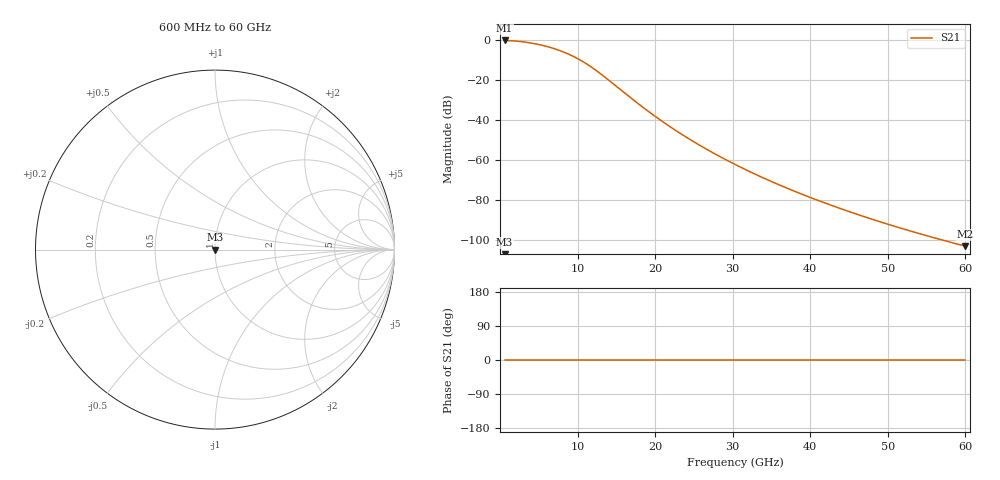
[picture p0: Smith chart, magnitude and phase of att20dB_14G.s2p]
# Hz S RI R 50
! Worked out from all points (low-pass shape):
!   201 points, 600 MHz to 60 GHz, reference 50 ohm
!   highest |S21| = -0.03 dB at 600 MHz (marker M1); lowest = -103.3 dB at 60 GHz (marker M2)
!   |S21| within 3 dB of the highest: start of sweep to 6.019 GHz
!   lowest |S11| = - dB at 600 MHz (marker M3), VSWR 1.00, Z = 50 + j0 ohm
!   |S11| at or under -10 dB: start of sweep to end of sweep
!   S12 and S22 are empty: the file has one direction only
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6e8  0 0  0.9967 0  0 0  0 0
1.81197e9  0 0  0.9698 0  0 0  0 0
3.07717e9  0 0  0.915 0  0 0  0 0
4.44786e9  0 0  0.8292 0  0 0  0 0
6e9  0 0  0.7072 0  0 0  0 0
7.21359e9  0 0  0.6006 0  0 0  0 0
8.47523e9  0 0  0.4857 0  0 0  0 0
9.50936e9  0 0  0.3928 0  0 0  0 0
1.06697e10  0 0  0.2953 0  0 0  0 0
1.28278e10  0 0  0.1524 0  0 0  0 0
1.47283e10  0 0  0.0778 0  0 0  0 0
1.81197e10  0 0  0.0232 0  0 0  0 0
2.08042e10  0 0  0.00959 0  0 0  0 0
2.33427e10  0 0  0.00449 0  0 0  0 0
2.55948e10  0 0  0.00242 0  0 0  0 0
2.80641e10  0 0  0.0013 0  0 0  0 0
3.07717e10  0 0  0.000692 0  0 0  0 0
3.53306e10  0 0  0.000268 0  0 0  0 0
4.0565e10  0 0  0.000103 0  0 0  0 0
4.15099e10  0 0  8.8e-05 0  0 0  0 0
5.10683e10  0 0  2.09e-05 0  0 0  0 0
6e10  0 0  6.81e-06 0  0 0  0 0
